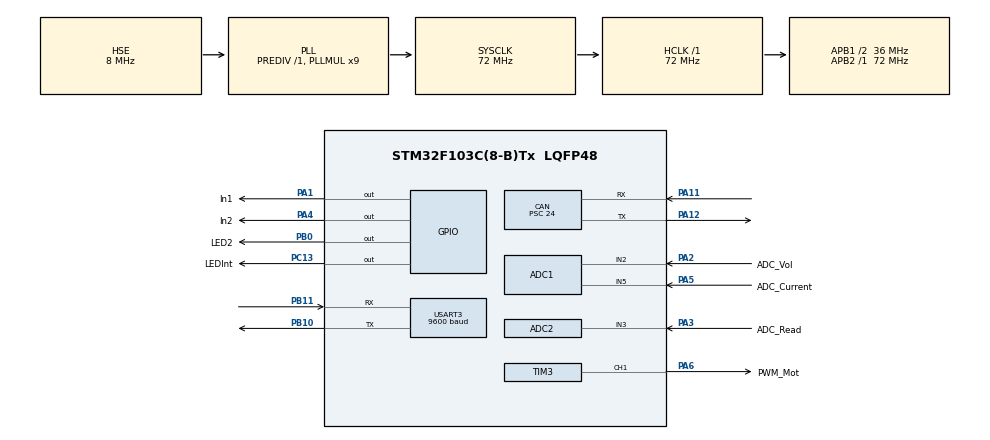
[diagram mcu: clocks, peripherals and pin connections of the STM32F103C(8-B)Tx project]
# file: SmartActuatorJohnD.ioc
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ADC1.Channel-3\#ChannelRegularConversion=ADC_CHANNEL_2
ADC1.Channel-4\#ChannelRegularConversion=ADC_CHANNEL_5
ADC1.ContinuousConvMode=ENABLE
ADC1.NbrOfConversion=2
ADC1.NbrOfConversionFlag=1
ADC1.Rank-3\#ChannelRegularConversion=1
ADC1.Rank-4\#ChannelRegularConversion=2
ADC1.SamplingTime-3\#ChannelRegularConversion=ADC_SAMPLETIME_1CYCLE_5
ADC1.SamplingTime-4\#ChannelRegularConversion=ADC_SAMPLETIME_1CYCLE_5
ADC1.master=1
ADC2.Channel-3\#ChannelRegularConversion=ADC_CHANNEL_3
ADC2.NbrOfConversionFlag=1
ADC2.Rank-3\#ChannelRegularConversion=1
ADC2.SamplingTime-3\#ChannelRegularConversion=ADC_SAMPLETIME_1CYCLE_5
CAN.CalculateTimeBit=2000
CAN.CalculateTimeQuantum=666.6666666666667
CAN.Prescaler=24
FREERTOS.Tasks01=CANReadPos,24,128,CAN_Read_Pos,Default,NULL,Dynamic,NULL,NULL;CANReadSP,24,128,CAN_Read_SP,Default,NULL,Dynamic,NULL,NULL;FailureAnalyzer,32,128,Check_Failures,Default,NULL,Dynamic,NULL,NULL;PositionControl,32,128,Pos_Control,Default,NULL,Dynamic,NULL,NULL
Mcu.Family=STM32F1
Mcu.Name=STM32F103C(8-B)Tx
Mcu.Package=LQFP48
NVIC.PriorityGroup=NVIC_PRIORITYGROUP_4
NVIC.TIM1_UP_IRQn=true\:0\:0\:false\:false\:true\:false\:false\:true
NVIC.TimeBase=TIM1_UP_IRQn
NVIC.TimeBaseIP=TIM1
PA1.GPIO_Label=In1
PA1.Signal=GPIO_Output
PA11.Mode=Master
PA11.Signal=CAN_RX
PA12.Mode=Master
PA12.Signal=CAN_TX
PA13.Mode=Serial_Wire
PA13.Signal=SYS_JTMS-SWDIO
PA14.Mode=Serial_Wire
PA14.Signal=SYS_JTCK-SWCLK
PA2.GPIO_Label=ADC_Vol
PA2.Signal=ADCx_IN2
PA3.GPIO_Label=ADC_Read
PA3.Signal=ADCx_IN3
PA4.GPIO_Label=In2
PA4.Signal=GPIO_Output
PA5.GPIO_Label=ADC_Current
PA5.Signal=ADCx_IN5
PA6.GPIO_Label=PWM_Mot
PA6.Signal=S_TIM3_CH1
PB0.GPIO_Label=LED2
PB0.Signal=GPIO_Output
PB10.Mode=Asynchronous
PB10.Signal=USART3_TX
PB11.Mode=Asynchronous
PB11.Signal=USART3_RX
PC13-TAMPER-RTC.GPIO_Label=LEDInt
PC13-TAMPER-RTC.Signal=GPIO_Output
PD0-OSC_IN.Mode=HSE-External-Oscillator
PD0-OSC_IN.Signal=RCC_OSC_IN
PD1-OSC_OUT.Mode=HSE-External-Oscillator
PD1-OSC_OUT.Signal=RCC_OSC_OUT
ProjectManager.HeapSize=0x200
ProjectManager.StackSize=0x400
ProjectManager.TargetToolchain=STM32CubeIDE
RCC.ADCPresc=RCC_ADCPCLK2_DIV6
RCC.AHBFreq_Value=72000000
RCC.APB1CLKDivider=RCC_HCLK_DIV2
RCC.APB1Freq_Value=36000000
RCC.APB1TimFreq_Value=72000000
RCC.APB2Freq_Value=72000000
RCC.APB2TimFreq_Value=72000000
RCC.HCLKFreq_Value=72000000
RCC.PLLMUL=RCC_PLL_MUL9
RCC.PLLSourceVirtual=RCC_PLLSOURCE_HSE
RCC.SYSCLKFreq_VALUE=72000000
RCC.SYSCLKSource=RCC_SYSCLKSOURCE_PLLCLK
RCC.USBFreq_Value=72000000
SH.ADCx_IN2.0=ADC1_IN2,IN2
SH.ADCx_IN3.0=ADC2_IN3,IN3
SH.ADCx_IN5.0=ADC1_IN5,IN5
SH.S_TIM3_CH1.0=TIM3_CH1,PWM Generation1 CH1
TIM3.Channel-PWM\ Generation1\ CH1=TIM_CHANNEL_1
TIM3.Period=1600
TIM3.Prescaler=100
USART3.BaudRate=9600
USART3.VirtualMode=VM_ASYNC
VP_FREERTOS_VS_CMSIS_V2.Mode=CMSIS_V2
VP_SYS_VS_tim1.Mode=TIM1
VP_TIM3_VS_ClockSourceINT.Mode=Internal
board=custom

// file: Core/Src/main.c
/* USER CODE BEGIN Header */
/**
  ******************************************************************************
  * @file           : main.c
  * @brief          : Main program body
  ******************************************************************************
  * @attention
  *
  * <h2><center>&copy; Copyright (c) 2020 STMicroelectronics.
  * All rights reserved.</center></h2>
  *
  * This software component is licensed by ST under Ultimate Liberty license
  * SLA0044, the "License"; You may not use this file except in compliance with
  * the License. You may obtain a copy of the License at:
  *                             www.st.com/SLA0044
  *
  ******************************************************************************
  */
/* USER CODE END Header */
#include "main.h"
#include "cmsis_os.h"

/* USER CODE BEGIN PD */
# define POINTS_NUM 7
# define DIST_POINTS 7
# define HALF_OFFSET 3

# define COUNTS_PER_CONTROL 200
# define PULSE_MAX 1000
# define PERIOD_COUNT 1000

# define MAX_SP 55
# define MIN_SP 2

#define ADC_VOL_NORMAL 2420
#define ADC_DIF_VOL_LIMIT 800

#define ADC_CURR_NORMAL 2420
#define ADC_DIF_CURR_LIMIT 360

#define HOME_POS 30
#define COUNTS_HOME 25
/* USER CODE END PD */

ADC_HandleTypeDef hadc1;
ADC_HandleTypeDef hadc2;

CAN_HandleTypeDef hcan;

TIM_HandleTypeDef htim3;

UART_HandleTypeDef huart3;

/* Definitions for CANReadPos */
osThreadId_t CANReadPosHandle;
const osThreadAttr_t CANReadPos_attributes = {
  .name = "CANReadPos",
  .priority = (osPriority_t) osPriorityNormal,
  .stack_size = 128 * 4
};
/* Definitions for CANReadSP */
osThreadId_t CANReadSPHandle;
const osThreadAttr_t CANReadSP_attributes = {
  .name = "CANReadSP",
  .priority = (osPriority_t) osPriorityNormal,
  .stack_size = 128 * 4
};
/* Definitions for FailureAnalyzer */
osThreadId_t FailureAnalyzerHandle;
const osThreadAttr_t FailureAnalyzer_attributes = {
  .name = "FailureAnalyzer",
  .priority = (osPriority_t) osPriorityAboveNormal,
  .stack_size = 128 * 4
};
/* Definitions for PositionControl */
osThreadId_t PositionControlHandle;
const osThreadAttr_t PositionControl_attributes = {
  .name = "PositionControl",
  .priority = (osPriority_t) osPriorityAboveNormal,
  .stack_size = 128 * 4
};
/* USER CODE BEGIN PV */

enum SysStates{VOL_ABOVE, VOL_BELOW, CURR_BELOW, CURR_ABOVE, NORMAL}SysState;

uint32_t adcRaw = 0;
uint32_t adcRawVol = 0;
uint32_t adcRawCurr = 0;
uint16_t actualPos_mm = 0;
uint32_t setPoint = HOME_POS;
int32_t error = 0;
uint32_t pulseCount = 0;
const uint32_t adcPoints[7] = {5, 130, 969, 2070, 3190, 3845, 3965};
const uint32_t linearFactors[7] = {15, 120, 137, 140, 93, 15, 10};
CAN_TxHeaderTypeDef txHeader;
uint8_t txMessage[8] = {0xFF, 0xFF, 0xFF, 0xFF, 0xFF, 0xFF, 0xFF, 0xFF};
uint32_t txMailbox;
CAN_RxHeaderTypeDef rxHeader;
uint8_t rxMessage[8];
CAN_FilterTypeDef filterConfig;
uint8_t InBuff[1];
uint8_t sendBuff[2];
uint8_t readSP = 0;
uint32_t countsHome = 0;

/* USER CODE END PV */

void SystemClock_Config(void);
static void MX_GPIO_Init(void);
static void MX_ADC1_Init(void);
static void MX_CAN_Init(void);
static void MX_TIM3_Init(void);
static void MX_ADC2_Init(void);
static void MX_USART3_UART_Init(void);
void CAN_Read_Pos(void *argument);
void CAN_Read_SP(void *argument);
void Check_Failures(void *argument);
void Pos_Control(void *argument);

/* USER CODE BEGIN PFP */
uint32_t readRawADC (ADC_HandleTypeDef hadc);
uint32_t getPos_mm (uint32_t adcVal);
static void setPWM(TIM_HandleTypeDef, uint32_t, uint16_t, uint16_t);
void sendSerialData(void);
void MotForward (void);
void MotBackward (void);
/* USER CODE END PFP */

int main(void)
{

  /* MCU Configuration--------------------------------------------------------*/

  /* Reset of all peripherals, Initializes the Flash interface and the Systick. */
  HAL_Init();

  /* Configure the system clock */
  SystemClock_Config();

  /* Initialize all configured peripherals */
  MX_GPIO_Init();
  MX_ADC1_Init();
  MX_CAN_Init();
  MX_TIM3_Init();
  MX_ADC2_Init();
  MX_USART3_UART_Init();
  /* USER CODE BEGIN 2 */

  HAL_GPIO_WritePin(LEDInt_GPIO_Port, LEDInt_Pin, GPIO_PIN_SET);

  txHeader.DLC = 8;
  txHeader.StdId = 0x18FFF848;
  txHeader.IDE = CAN_ID_STD;
  txHeader.RTR = CAN_RTR_DATA;
  filterConfig.FilterIdHigh = 0;
  filterConfig.FilterIdLow = 0;
  filterConfig.FilterMaskIdHigh = 0;
  filterConfig.FilterMaskIdLow = 0;
  filterConfig.FilterBank = 15;
  filterConfig.FilterFIFOAssignment = CAN_FILTER_FIFO0;
  filterConfig.FilterMode = CAN_FILTERMODE_IDMASK;
  filterConfig.FilterScale = CAN_FILTERSCALE_32BIT;
  filterConfig.FilterActivation = ENABLE;
  HAL_CAN_Start(&hcan);
  HAL_CAN_ConfigFilter(&hcan, &filterConfig);

  SysState = NORMAL;
  /* USER CODE END 2 */

  /* Init scheduler */
  osKernelInitialize();

  /* Create the thread(s) */
  /* creation of CANReadPos */
  CANReadPosHandle = osThreadNew(CAN_Read_Pos, NULL, &CANReadPos_attributes);

  /* creation of CANReadSP */
  CANReadSPHandle = osThreadNew(CAN_Read_SP, NULL, &CANReadSP_attributes);

  /* creation of FailureAnalyzer */
  FailureAnalyzerHandle = osThreadNew(Check_Failures, NULL, &FailureAnalyzer_attributes);

  /* creation of PositionControl */
  PositionControlHandle = osThreadNew(Pos_Control, NULL, &PositionControl_attributes);

  /* Start scheduler */
  osKernelStart();

  /* We should never get here as control is now taken by the scheduler */
  /* Infinite loop */
  while (1)
  {

  }
}

void SystemClock_Config(void)
{
  RCC_OscInitTypeDef RCC_OscInitStruct = {0};
  RCC_ClkInitTypeDef RCC_ClkInitStruct = {0};
  RCC_PeriphCLKInitTypeDef PeriphClkInit = {0};

  /** Initializes the RCC Oscillators according to the specified parameters
  * in the RCC_OscInitTypeDef structure.
  */
  RCC_OscInitStruct.OscillatorType = RCC_OSCILLATORTYPE_HSE;
  RCC_OscInitStruct.HSEState = RCC_HSE_ON;
  RCC_OscInitStruct.HSEPredivValue = RCC_HSE_PREDIV_DIV1;
  RCC_OscInitStruct.HSIState = RCC_HSI_ON;
  RCC_OscInitStruct.PLL.PLLState = RCC_PLL_ON;
  RCC_OscInitStruct.PLL.PLLSource = RCC_PLLSOURCE_HSE;
  RCC_OscInitStruct.PLL.PLLMUL = RCC_PLL_MUL9;
  if (HAL_RCC_OscConfig(&RCC_OscInitStruct) != HAL_OK)
  {
    Error_Handler();
  }
  /** Initializes the CPU, AHB and APB buses clocks
  */
  RCC_ClkInitStruct.ClockType = RCC_CLOCKTYPE_HCLK|RCC_CLOCKTYPE_SYSCLK
                              |RCC_CLOCKTYPE_PCLK1|RCC_CLOCKTYPE_PCLK2;
  RCC_ClkInitStruct.SYSCLKSource = RCC_SYSCLKSOURCE_PLLCLK;
  RCC_ClkInitStruct.AHBCLKDivider = RCC_SYSCLK_DIV1;
  RCC_ClkInitStruct.APB1CLKDivider = RCC_HCLK_DIV2;
  RCC_ClkInitStruct.APB2CLKDivider = RCC_HCLK_DIV1;

  if (HAL_RCC_ClockConfig(&RCC_ClkInitStruct, FLASH_LATENCY_2) != HAL_OK)
  {
    Error_Handler();
  }
  PeriphClkInit.PeriphClockSelection = RCC_PERIPHCLK_ADC;
  PeriphClkInit.AdcClockSelection = RCC_ADCPCLK2_DIV6;
  if (HAL_RCCEx_PeriphCLKConfig(&PeriphClkInit) != HAL_OK)
  {
    Error_Handler();
  }
}

static void MX_ADC1_Init(void)
{

  ADC_ChannelConfTypeDef sConfig = {0};

  /** Common config
  */
  hadc1.Instance = ADC1;
  hadc1.Init.ScanConvMode = ADC_SCAN_ENABLE;
  hadc1.Init.ContinuousConvMode = ENABLE;
  hadc1.Init.DiscontinuousConvMode = DISABLE;
  hadc1.Init.ExternalTrigConv = ADC_SOFTWARE_START;
  hadc1.Init.DataAlign = ADC_DATAALIGN_RIGHT;
  hadc1.Init.NbrOfConversion = 2;
  if (HAL_ADC_Init(&hadc1) != HAL_OK)
  {
    Error_Handler();
  }
  /** Configure Regular Channel
  */
  sConfig.Channel = ADC_CHANNEL_2;
  sConfig.Rank = ADC_REGULAR_RANK_1;
  sConfig.SamplingTime = ADC_SAMPLETIME_1CYCLE_5;
  if (HAL_ADC_ConfigChannel(&hadc1, &sConfig) != HAL_OK)
  {
    Error_Handler();
  }
  /** Configure Regular Channel
  */
  sConfig.Channel = ADC_CHANNEL_5;
  sConfig.Rank = ADC_REGULAR_RANK_2;
  if (HAL_ADC_ConfigChannel(&hadc1, &sConfig) != HAL_OK)
  {
    Error_Handler();
  }

}

static void MX_ADC2_Init(void)
{

  ADC_ChannelConfTypeDef sConfig = {0};

  /** Common config
  */
  hadc2.Instance = ADC2;
  hadc2.Init.ScanConvMode = ADC_SCAN_DISABLE;
  hadc2.Init.ContinuousConvMode = DISABLE;
  hadc2.Init.DiscontinuousConvMode = DISABLE;
  hadc2.Init.ExternalTrigConv = ADC_SOFTWARE_START;
  hadc2.Init.DataAlign = ADC_DATAALIGN_RIGHT;
  hadc2.Init.NbrOfConversion = 1;
  if (HAL_ADC_Init(&hadc2) != HAL_OK)
  {
    Error_Handler();
  }
  /** Configure Regular Channel
  */
  sConfig.Channel = ADC_CHANNEL_3;
  sConfig.Rank = ADC_REGULAR_RANK_1;
  sConfig.SamplingTime = ADC_SAMPLETIME_1CYCLE_5;
  if (HAL_ADC_ConfigChannel(&hadc2, &sConfig) != HAL_OK)
  {
    Error_Handler();
  }

}

static void MX_CAN_Init(void)
{

  hcan.Instance = CAN1;
  hcan.Init.Prescaler = 24;
  hcan.Init.Mode = CAN_MODE_NORMAL;
  hcan.Init.SyncJumpWidth = CAN_SJW_1TQ;
  hcan.Init.TimeSeg1 = CAN_BS1_1TQ;
  hcan.Init.TimeSeg2 = CAN_BS2_1TQ;
  hcan.Init.TimeTriggeredMode = DISABLE;
  hcan.Init.AutoBusOff = DISABLE;
  hcan.Init.AutoWakeUp = DISABLE;
  hcan.Init.AutoRetransmission = DISABLE;
  hcan.Init.ReceiveFifoLocked = DISABLE;
  hcan.Init.TransmitFifoPriority = DISABLE;
  if (HAL_CAN_Init(&hcan) != HAL_OK)
  {
    Error_Handler();
  }

}

static void MX_TIM3_Init(void)
{

  TIM_ClockConfigTypeDef sClockSourceConfig = {0};
  TIM_MasterConfigTypeDef sMasterConfig = {0};
  TIM_OC_InitTypeDef sConfigOC = {0};

  htim3.Instance = TIM3;
  htim3.Init.Prescaler = 100;
  htim3.Init.CounterMode = TIM_COUNTERMODE_UP;
  htim3.Init.Period = 1600;
  htim3.Init.ClockDivision = TIM_CLOCKDIVISION_DIV1;
  htim3.Init.AutoReloadPreload = TIM_AUTORELOAD_PRELOAD_DISABLE;
  if (HAL_TIM_Base_Init(&htim3) != HAL_OK)
  {
    Error_Handler();
  }
  sClockSourceConfig.ClockSource = TIM_CLOCKSOURCE_INTERNAL;
  if (HAL_TIM_ConfigClockSource(&htim3, &sClockSourceConfig) != HAL_OK)
  {
    Error_Handler();
  }
  if (HAL_TIM_PWM_Init(&htim3) != HAL_OK)
  {
    Error_Handler();
  }
  sMasterConfig.MasterOutputTrigger = TIM_TRGO_RESET;
  sMasterConfig.MasterSlaveMode = TIM_MASTERSLAVEMODE_DISABLE;
  if (HAL_TIMEx_MasterConfigSynchronization(&htim3, &sMasterConfig) != HAL_OK)
  {
    Error_Handler();
  }
  sConfigOC.OCMode = TIM_OCMODE_PWM1;
  sConfigOC.Pulse = 0;
  sConfigOC.OCPolarity = TIM_OCPOLARITY_HIGH;
  sConfigOC.OCFastMode = TIM_OCFAST_DISABLE;
  if (HAL_TIM_PWM_ConfigChannel(&htim3, &sConfigOC, TIM_CHANNEL_1) != HAL_OK)
  {
    Error_Handler();
  }
  HAL_TIM_MspPostInit(&htim3);

}

static void MX_USART3_UART_Init(void)
{

  huart3.Instance = USART3;
  huart3.Init.BaudRate = 9600;
  huart3.Init.WordLength = UART_WORDLENGTH_8B;
  huart3.Init.StopBits = UART_STOPBITS_1;
  huart3.Init.Parity = UART_PARITY_NONE;
  huart3.Init.Mode = UART_MODE_TX_RX;
  huart3.Init.HwFlowCtl = UART_HWCONTROL_NONE;
  huart3.Init.OverSampling = UART_OVERSAMPLING_16;
  if (HAL_UART_Init(&huart3) != HAL_OK)
  {
    Error_Handler();
  }

}

static void MX_GPIO_Init(void)
{
  GPIO_InitTypeDef GPIO_InitStruct = {0};

  /* GPIO Ports Clock Enable */
  __HAL_RCC_GPIOC_CLK_ENABLE();
  __HAL_RCC_GPIOD_CLK_ENABLE();
  __HAL_RCC_GPIOA_CLK_ENABLE();
  __HAL_RCC_GPIOB_CLK_ENABLE();

  /*Configure GPIO pin Output Level */
  HAL_GPIO_WritePin(LEDInt_GPIO_Port, LEDInt_Pin, GPIO_PIN_RESET);

  /*Configure GPIO pin Output Level */
  HAL_GPIO_WritePin(GPIOA, In1_Pin|In2_Pin, GPIO_PIN_RESET);

  /*Configure GPIO pin Output Level */
  HAL_GPIO_WritePin(LED2_GPIO_Port, LED2_Pin, GPIO_PIN_RESET);

  /*Configure GPIO pin : LEDInt_Pin */
  GPIO_InitStruct.Pin = LEDInt_Pin;
  GPIO_InitStruct.Mode = GPIO_MODE_OUTPUT_PP;
  GPIO_InitStruct.Pull = GPIO_NOPULL;
  GPIO_InitStruct.Speed = GPIO_SPEED_FREQ_LOW;
  HAL_GPIO_Init(LEDInt_GPIO_Port, &GPIO_InitStruct);

  /*Configure GPIO pins : In1_Pin In2_Pin */
  GPIO_InitStruct.Pin = In1_Pin|In2_Pin;
  GPIO_InitStruct.Mode = GPIO_MODE_OUTPUT_PP;
  GPIO_InitStruct.Pull = GPIO_NOPULL;
  GPIO_InitStruct.Speed = GPIO_SPEED_FREQ_LOW;
  HAL_GPIO_Init(GPIOA, &GPIO_InitStruct);

  /*Configure GPIO pin : LED2_Pin */
  GPIO_InitStruct.Pin = LED2_Pin;
  GPIO_InitStruct.Mode = GPIO_MODE_OUTPUT_PP;
  GPIO_InitStruct.Pull = GPIO_NOPULL;
  GPIO_InitStruct.Speed = GPIO_SPEED_FREQ_LOW;
  HAL_GPIO_Init(LED2_GPIO_Port, &GPIO_InitStruct);

}

/* USER CODE BEGIN 4 */

void setPWM(TIM_HandleTypeDef timer, uint32_t channel, uint16_t period,
uint16_t pulse)
{
 HAL_TIM_PWM_Stop(&timer, channel); // stop generation of pwm
 TIM_OC_InitTypeDef sConfigOC;
 timer.Init.Period = period; // set the period duration
 HAL_TIM_PWM_Init(&timer); // reinititialise with new period value
 sConfigOC.OCMode = TIM_OCMODE_PWM1;
 sConfigOC.Pulse = pulse; // set the pulse duration
 sConfigOC.OCPolarity = TIM_OCPOLARITY_HIGH;
 sConfigOC.OCFastMode = TIM_OCFAST_DISABLE;
 HAL_TIM_PWM_ConfigChannel(&timer, &sConfigOC, channel);
 HAL_TIM_PWM_Start(&timer, channel); // start pwm generation
}

uint32_t readRawADC (ADC_HandleTypeDef hadc) {

	uint32_t reading;

	HAL_ADC_Start(&hadc);
	HAL_ADC_PollForConversion(&hadc, HAL_MAX_DELAY);
	reading = HAL_ADC_GetValue(&hadc);
	HAL_ADC_Stop(&hadc);

	return reading;

}

//Function to transmit position and error data serially to Arduino

void sendSerialData(void) {

	sendBuff[0] = actualPos_mm;
	sendBuff[1] = SysState;

	HAL_UART_Transmit (&huart3, sendBuff, 2, 200);

}

// Function to calculate position in mm from a ADC read. A linearization process is used.

uint32_t getPos_mm (uint32_t adcVal) {

	uint8_t sector = 0;
	uint16_t pos_mm = 0;

	//Check in what sector the ADC reading is in.

	while (adcVal >= adcPoints[sector] && sector < POINTS_NUM){
		sector ++;
	}

	//Calculate base position.

	pos_mm += DIST_POINTS * sector;
	if (pos_mm >= 3){
		pos_mm += HALF_OFFSET;
	}

	//Add offset position between segments limits.

	if (sector > 0){
		pos_mm += (adcVal - adcPoints[sector - 1]) / linearFactors[sector - 1];
	} else{
		pos_mm += adcVal * 1.4;
	}

	return pos_mm;

}

// Set H bridge control lines to motor forward move.

void MotForward (void){
	HAL_GPIO_WritePin(GPIOA, In1_Pin, GPIO_PIN_RESET);
	HAL_GPIO_WritePin(GPIOA, In2_Pin, GPIO_PIN_SET);
}

// Set H bridge control lines to motor backward move.

void MotBackward (void){
	HAL_GPIO_WritePin(GPIOA, In1_Pin, GPIO_PIN_SET);
	HAL_GPIO_WritePin(GPIOA, In2_Pin, GPIO_PIN_RESET);
}

/* USER CODE END 4 */

void CAN_Read_Pos(void *argument)
{
  /* USER CODE BEGIN 5 */
  /* Infinite loop */
  for(;;)
  {
    osDelay(1000);
  }
  /* USER CODE END 5 */
}

void CAN_Read_SP(void *argument)
{
  /* USER CODE BEGIN CAN_Read_SP */

  /* Infinite loop */
	for(;;)
	{
		//Check for serial incomming data and save it if valid.

		if(HAL_UART_Receive (&huart3, InBuff, 1, 200) == HAL_OK) {

			//Limit SetPoint range.
			if (InBuff[0] > MAX_SP) {
				setPoint = MAX_SP;
			} else if (InBuff[0] < MIN_SP) {
				setPoint = MIN_SP;
			} else {
				setPoint = InBuff[0];
			}

			osDelay(1000);

		} else {
			osDelay(200);
		}
	}
  /* USER CODE END CAN_Read_SP */
}

void Check_Failures(void *argument)
{
  /* USER CODE BEGIN Check_Failures */
  /* Infinite loop */
  for(;;)
  {

	  //Read voltage and current analog inputs

	  HAL_ADC_Start(&hadc1);
	  HAL_ADC_PollForConversion(&hadc1, HAL_MAX_DELAY);
	  adcRawVol = HAL_ADC_GetValue(&hadc1);
	  osDelay(5);
	  HAL_ADC_PollForConversion(&hadc1, HAL_MAX_DELAY);
	  adcRawCurr = HAL_ADC_GetValue(&hadc1);
	  HAL_ADC_Stop(&hadc1);

	  //Check for voltage read outside of valid limits.
	  if (adcRawVol < ADC_VOL_NORMAL - ADC_DIF_VOL_LIMIT) {
		  SysState = VOL_BELOW;
	  } else if (adcRawVol > ADC_VOL_NORMAL + ADC_DIF_VOL_LIMIT) {
		  SysState = VOL_ABOVE;
	  } else if (adcRawCurr < ADC_CURR_NORMAL - ADC_DIF_CURR_LIMIT){
		  SysState = CURR_BELOW;
	  } else if(adcRawCurr > ADC_CURR_NORMAL + ADC_DIF_CURR_LIMIT) {
		  SysState = CURR_ABOVE;
	  } else {
		  SysState = NORMAL;
	  }

	  osDelay(1000);
  }
  /* USER CODE END Check_Failures */
}

void Pos_Control(void *argument)
{
  /* USER CODE BEGIN Pos_Control */
  /* Infinite loop */
  for(;;)
  {
	//Read position

	adcRaw = readRawADC(hadc2);
	actualPos_mm = getPos_mm(adcRaw);

	error = setPoint - actualPos_mm;

	//Determine direction

	if (error >= 0) {
		MotForward();
	}else {
		MotBackward();
	}

	if (error < 0){
		error = error * -1;
	}

	//Control algorithm for duty cycle generation

	if (error >= 5){
		pulseCount = PULSE_MAX;
	}else{
		pulseCount = COUNTS_PER_CONTROL * error;
	}

	//Check for failures

	if (SysState == NORMAL) {
		setPWM(htim3, TIM_CHANNEL_1, PERIOD_COUNT, pulseCount);
	} else {
		setPWM(htim3, TIM_CHANNEL_1, PERIOD_COUNT, 0);
	}

	//Check for home return timeout

	if (error <= 1) {
		if (setPoint != HOME_POS) {
			countsHome ++;
			if (countsHome >= COUNTS_HOME) {
				setPoint = HOME_POS;
				countsHome = 0;
			}
		}
	}

	sendSerialData();

    osDelay(200);
  }
  /* USER CODE END Pos_Control */
}

void HAL_TIM_PeriodElapsedCallback(TIM_HandleTypeDef *htim)
{
  if (htim->Instance == TIM1) {
    HAL_IncTick();
  }
}

void Error_Handler(void)
{
}

/************************ (C) COPYRIGHT STMicroelectronics *****END OF FILE****/
